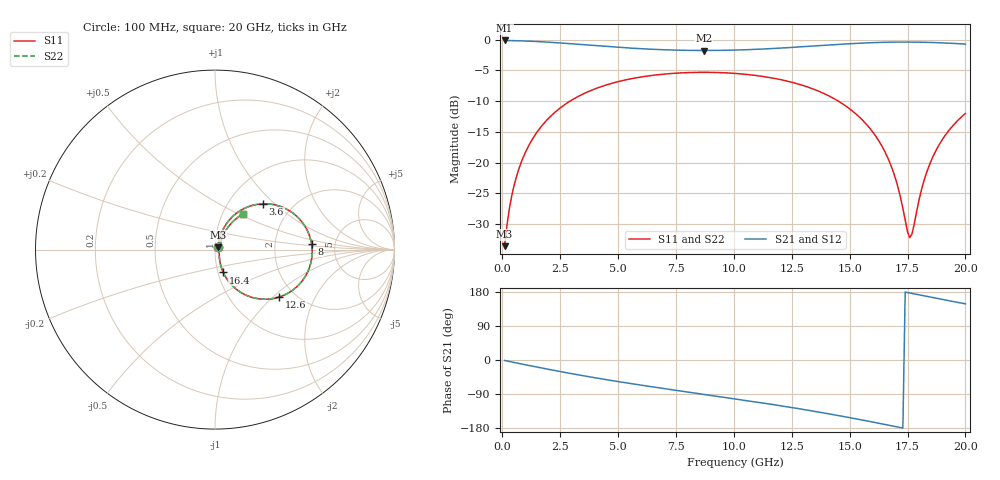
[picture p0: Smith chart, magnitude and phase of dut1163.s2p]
! Touchstone file exported from HFSS 2026.1.0
!  File:  C:/ffzhzh/LocalFiles/Ansys_Project_Files/temp_train_TSV_RDL_1163_1783313030_39728.aedt
!  Generated:  12:56:34 PM Jul  6, 2026
!  Design:  TSV_RDL
!  Project:  temp_train_TSV_RDL_1163_1783313030_39728
! Variables:
!  h_bsmrdl = 3.9um
!  h_ox = 20um
!  h_rdl = 5um
!  h_sub = 88.6um
!  h_tmrdl = 4.57um
!  h_tsv = 88.6um
!  h_via = 3um
!  l_bsmrdl = 321.61um
!  l_sub = 3393.69um
!  l_tmrdl = 479.39um
!  m_sub = 200um
!  pitch = 47.34um
!  r_tsv = 5.36um
!  s_tmrdl = 10um
!  w_bsmrdl = 11.7um
!  w_sub = 500um
!  w_tmrdl = 25.4um
!  x_tsv_center1 = 492.09um
!  x_tsv_center2 = 825.4um
!  x_tsv_center3 = 1330.19um
!  x_tsv_center4 = 1663.5um
!  x_tsv_center5 = 2168.29um
!  x_tsv_center6 = 2501.6um
# GHz S MA R 50.000000
! Terminal data exported
! Port[1] = TM_RDL1_1_T1
! Port[2] = TM_RDL5_1_T1
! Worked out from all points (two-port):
!   200 points, 100 MHz to 20 GHz, reference 50 ohm
!   highest |S21| = -0.14 dB at 100 MHz (marker M1); lowest = -1.8 dB at 8.7 GHz (marker M2)
!   |S21| within 3 dB of the highest: start of sweep to end of sweep
!   lowest |S11| = -33.6 dB at 100 MHz (marker M3), VSWR 1.04, Z = 51.7 + j1.3 ohm
!   |S11| at or under -10 dB: start of sweep to 2.93 GHz; 14.51 GHz to end of sweep
!   |S22| runs from -33.6 to -5.3 dB; largest |S21 - S12| = 7.4e-14
!   S11 on the Smith chart (normalised r, x): 100 MHz: 1.03, +0.03; 3.6 GHz: 1.43, +0.85; 8 GHz: 3.30, +0.32; 12.6 GHz: 1.66, -1.10; 16.4 GHz: 1.06, -0.28; 20 GHz: 1.25, +0.52
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0.1  0.02092 36.9  0.9835 -1.3  0.9835 -1.3  0.02092 36.9
! Gamma 0 0 0 0
! Port Impedance 50 0 50 0
0.3  0.04158 61.1  0.9817 -3.9  0.9817 -3.9  0.04158 61.1
0.5  0.06415 66.9  0.9796 -6.4  0.9796 -6.4  0.06415 66.9
1.1  0.1325 67.7  0.9715 -13.8  0.9715 -13.8  0.1325 67.7
2.1  0.2394 59.0  0.9495 -25.8  0.9495 -25.8  0.2394 59.0
3.5  0.3619 44.7  0.9085 -41.6  0.9085 -41.6  0.3619 44.7
3.6  0.3693 43.7  0.9054 -42.6  0.9054 -42.6  0.3693 43.7
6.8  0.5197 13.9  0.8288 -73.7  0.8288 -73.7  0.5197 13.9
8  0.5388 3.6  0.8169 -84.4  0.8169 -84.4  0.5388 3.6
8.7  0.5417 -2.3  0.8149 -90.5  0.8149 -90.5  0.5417 -2.3
10.1  0.5298 -14.2  0.8218 -102.9  0.8218 -102.9  0.5298 -14.2
12.6  0.4449 -36.4  0.8657 -126.4  0.8657 -126.4  0.4449 -36.4
13.4  0.3981 -44.0  0.8854 -134.6  0.8854 -134.6  0.3981 -44.0
15.2  0.2554 -61.3  0.9293 -154.4  0.9293 -154.4  0.2554 -61.3
16.4  0.1356 -70.2  0.9493 -168.6  0.9493 -168.6  0.1356 -70.1
16.7  0.1038 -70.5  0.9521 -172.2  0.9521 -172.2  0.1039 -70.4
17.1  0.0619 -65.6  0.9544 -177.1  0.9544 -177.1  0.06192 -65.5
17.6  0.02452 -7.3  0.9546 176.8  0.9546 176.8  0.02464 -7.3
17.7  0.0265 16.4  0.9543 175.6  0.9543 175.6  0.02661 16.3
18.2  0.07002 57.6  0.951 169.5  0.951 169.5  0.07009 57.5
18.6  0.1119 60.7  0.9464 164.7  0.9464 164.7  0.1119 60.6
20  0.2508 51.7  0.9189 148.2  0.9189 148.2  0.2509 51.7
